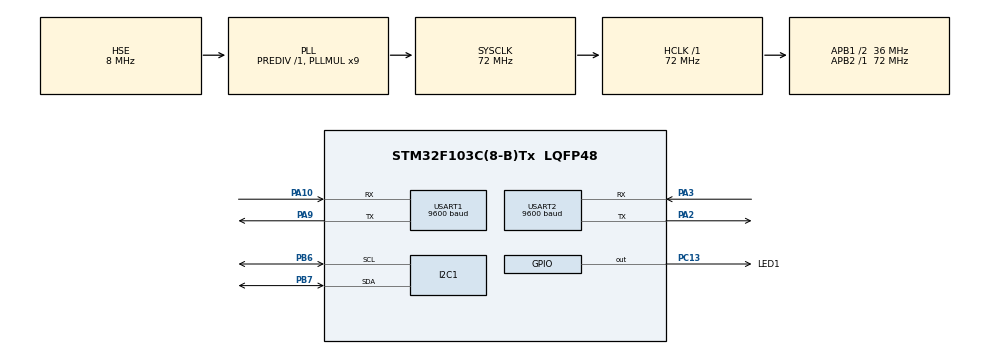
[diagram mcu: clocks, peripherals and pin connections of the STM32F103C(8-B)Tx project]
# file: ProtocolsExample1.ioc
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I2C1.OwnAddress=0x21
Mcu.Family=STM32F1
Mcu.Name=STM32F103C(8-B)Tx
Mcu.Package=LQFP48
NVIC.I2C1_ER_IRQn=true\:0\:0\:false\:false\:true\:true\:true\:true
NVIC.I2C1_EV_IRQn=true\:0\:0\:true\:false\:true\:true\:true\:true
NVIC.PriorityGroup=NVIC_PRIORITYGROUP_4
NVIC.TIM2_IRQn=true\:7\:0\:true\:false\:true\:true\:true\:true
NVIC.USART1_IRQn=true\:7\:0\:true\:false\:true\:true\:true\:true
NVIC.USART2_IRQn=true\:0\:0\:true\:false\:true\:true\:true\:true
PA10.Mode=Asynchronous
PA10.Signal=USART1_RX
PA13.Mode=Serial_Wire
PA13.Signal=SYS_JTMS-SWDIO
PA14.Mode=Serial_Wire
PA14.Signal=SYS_JTCK-SWCLK
PA2.Mode=Asynchronous
PA2.Signal=USART2_TX
PA3.Mode=Asynchronous
PA3.Signal=USART2_RX
PA9.Mode=Asynchronous
PA9.Signal=USART1_TX
PB6.Mode=I2C
PB6.Signal=I2C1_SCL
PB7.Mode=I2C
PB7.Signal=I2C1_SDA
PC13-TAMPER-RTC.GPIO_Label=LED1
PC13-TAMPER-RTC.GPIO_ModeDefaultOutputPP=GPIO_MODE_OUTPUT_PP
PC13-TAMPER-RTC.Signal=GPIO_Output
PD0-OSC_IN.Mode=HSE-External-Oscillator
PD0-OSC_IN.Signal=RCC_OSC_IN
PD1-OSC_OUT.Mode=HSE-External-Oscillator
PD1-OSC_OUT.Signal=RCC_OSC_OUT
ProjectManager.HeapSize=0x200
ProjectManager.StackSize=0x400
ProjectManager.TargetToolchain=STM32CubeIDE
RCC.AHBFreq_Value=72000000
RCC.APB1CLKDivider=RCC_HCLK_DIV2
RCC.APB1Freq_Value=36000000
RCC.APB1TimFreq_Value=72000000
RCC.APB2Freq_Value=72000000
RCC.APB2TimFreq_Value=72000000
RCC.HCLKFreq_Value=72000000
RCC.PLLMUL=RCC_PLL_MUL9
RCC.PLLSourceVirtual=RCC_PLLSOURCE_HSE
RCC.SYSCLKFreq_VALUE=72000000
RCC.SYSCLKSource=RCC_SYSCLKSOURCE_PLLCLK
RCC.USBFreq_Value=72000000
TIM2.AutoReloadPreload=TIM_AUTORELOAD_PRELOAD_ENABLE
TIM2.Period=36000
TIM2.Prescaler=10000
USART1.BaudRate=9600
USART1.Mode=MODE_TX
USART1.VirtualMode=VM_ASYNC
USART1.WordLength=WORDLENGTH_8B
USART2.BaudRate=9600
USART2.VirtualMode=VM_ASYNC
VP_TIM2_VS_ClockSourceINT.Mode=Internal
board=custom

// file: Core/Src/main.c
/* USER CODE BEGIN Header */
/**
  ******************************************************************************
  * @file           : main.c
  * @brief          : Main program body
  ******************************************************************************
  * @attention
  *
  * Copyright (c) 2022 STMicroelectronics.
  * All rights reserved.
  *
  * This software is licensed under terms that can be found in the LICENSE file
  * in the root directory of this software component.
  * If no LICENSE file comes with this software, it is provided AS-IS.
  *
  ******************************************************************************
  */
/* USER CODE END Header */
#include "main.h"

/* USER CODE BEGIN Includes */
#define _GNU_SOURCE
#include <string.h>
#include <stdlib.h>
#include <stdio.h>
/* USER CODE END Includes */

 I2C_HandleTypeDef hi2c1;

TIM_HandleTypeDef htim2;

UART_HandleTypeDef huart1;
UART_HandleTypeDef huart2;

void SystemClock_Config(void);
static void MX_GPIO_Init(void);
static void MX_I2C1_Init(void);
static void MX_USART1_UART_Init(void);
static void MX_USART2_UART_Init(void);
static void MX_TIM2_Init(void);

/* USER CODE BEGIN 0 */

uint8_t uart2_rx_buffer[16];
uint8_t i2c1_rx_buffer[3];

uint32_t command = 0;
uint32_t storage_id = 0;
uint32_t offset = 0;
uint32_t size = 0;

uint8_t * i2c_current;

void uart1_log(char * message, size_t len){
	// opportunistic log - if the HAL is busy, we throw away the message.
	HAL_StatusTypeDef status;
	status = HAL_UART_Transmit_IT(&huart1, (uint8_t *) message, len);
	if (status != HAL_OK)
		free(message);
}

void parse_uart2_rx_buffer(){
	/* The receive buffer is 16 byte. Internally we treat those 16 byte as 4 * 32bit:
	 *
	 * [uint32_t command] [uint32_t storage_id] [uint32_t offset] [uint32_t size]
	 *
	 * The receive buffer is an array of uint8_t and we just cast it, so we can interpret it as
	 * a uint32_t[4].
	 */
	uint32_t * casted_buffer = (uint32_t *) uart2_rx_buffer;
	command = (uint32_t) casted_buffer[0];
	storage_id = (uint32_t) casted_buffer[1];
	offset = (uint32_t) casted_buffer[2];
	size = (uint32_t) casted_buffer[3];
}
/* This is called when TIM2 (every 5 seconds) overflows.
 * We use this to print "Hello World! on UART1
 */
void HAL_TIM_PeriodElapsedCallback(TIM_HandleTypeDef *htim) {
	char* buffer;
	int len;
	len = asprintf(&buffer, "Hello world!\r\n");
	uart1_log(buffer, len);
}

void uart2_reset(){
	 command = 0;
	 storage_id = 0;
	 offset = 0;
	 size = 0;
}

/* Here we execute the UART "READ FLASH" command (0x2c) */
void uart2_read(){
	HAL_StatusTypeDef status;
	status = HAL_UART_Transmit(&huart2, (uint8_t *)FLASH_BASE + offset, size, 500);

	char* buffer;
	int len;
	if(status == HAL_OK){
		len = asprintf(&buffer, "UART2: Transmitted!\r\n");
	}else {
		len = asprintf(&buffer, "UART2: Transmission Error!\r\n");
	}
	uart1_log(buffer, len);
}

void uart2_command_parse(){
	char * buffer;
 	int len;

	switch(command){
		// 2c is the READ FLASH command.
		case 0x2c:
			uart2_read();
			break;
		default:
		 	len = asprintf(&buffer, "UART2: Invalid command received: 0x%lX\r\n", command);
			uart1_log(buffer, len);
	}
	uart2_reset();
}

void HAL_UART_TxCpltCallback(UART_HandleTypeDef *huart){
	 if(huart == &huart1){
		 // Transmits via huart1 are our log. These are done via Interrupt.
		 // Messages are allocated on the Heap. We need to free it here after successful transmission.
		 // The transmit buffer is moved byte by byte during transmission.
		 // We calculate the original pointer to free it.
		 uint8_t * buff = (huart->pTxBuffPtr) - huart->TxXferSize;
		 free(buff);
	 }
}

void HAL_UART_RxCpltCallback(UART_HandleTypeDef *huart){

 if(huart == &huart2){
	 // We received data on UART! get the command, offset and size from the RX buffer.
	 parse_uart2_rx_buffer();

	 char * buffer;
 	 int len = asprintf(&buffer, "UART2: READ FLASH command received! Command: 0x%lX, Offset:%lX, Size: %lX\r\n", command, offset, size);
	 uart1_log(buffer, len);

	 // Now execute whatever was requested.
	 uart2_command_parse();

 }
 // Enable UART RX...
 HAL_UART_Receive_IT(&huart2, uart2_rx_buffer, 16);
}

void HAL_I2C_SlaveRxCpltCallback(I2C_HandleTypeDef *hi2c1){
	// we received 3 bytes of data!

	/* We have only 128 kByte of flash, from 3 bytes received, we only need 17 bits.
	 * make sure the upper 7 bits are not set.
	 */

	if(!(i2c1_rx_buffer[0] && 0xFE)){
			// we have a valid address
			uint32_t received_address = 0x00000000 | (i2c1_rx_buffer[0] << 16);
			received_address = received_address | (i2c1_rx_buffer[1] << 8);
			received_address = received_address | (i2c1_rx_buffer[2]);

			i2c_current = (uint8_t *) (FLASH_BASE + received_address);
	}

	char * buffer;
	int len = asprintf(&buffer, "I2C1: READ FLASH offset set: %p\r\n", i2c_current);
	uart1_log(buffer, len);

}

void HAL_I2C_AddrCallback(I2C_HandleTypeDef *hi2c1, uint8_t TransferDirection, uint16_t AddrMatchCode){

	/* Called when our I2C address was requested on the bus.
	 * Depending on the transfer direction we will either start a Transmit or Receive.
	 */

	// TransferDirection is seen from the Master, but we are on a Slave

	// We send data to the master
	if(TransferDirection == I2C_DIRECTION_RECEIVE){
		// We do not know how many bytes the master wants. This means we transmit everythin.
		// The controller will stop receiving bytes by sending a NACK. This will result in a Error and
		// subsequently into a callback to HAL_I2C_ErrorCallback.
		HAL_I2C_Slave_Seq_Transmit_IT(hi2c1, i2c_current, (uint16_t)0xFFFFF, I2C_FIRST_FRAME);
	  }

	// We receive the address from the master.
	// This is normally a command to set the flash pointer offset. When the transfer is done,
	// HAL_I2C_SlaveRxCpltCallback is called. There we will parse the received data.
	if(TransferDirection == I2C_DIRECTION_TRANSMIT){
		HAL_I2C_Slave_Seq_Receive_IT(hi2c1, i2c1_rx_buffer, 3, I2C_FIRST_AND_LAST_FRAME);
	}
}

void HAL_I2C_ErrorCallback(I2C_HandleTypeDef *hi2c){
	// This is a hack. The current_address pointer is always shifted one byte too far.
	// If the error was HAL_I2C_ERROR_AF (ACK Failed), we substract one to correct that.
	if(hi2c->ErrorCode == HAL_I2C_ERROR_AF){
		uint32_t bytes_transferred = ((hi2c->XferSize - hi2c->XferCount) - 1);
		i2c_current = i2c_current + bytes_transferred;
		char * buffer;
		int len;
		len = asprintf(&buffer, "I2C1: READ FLASH ended! %lu bytes transferred\r\n", bytes_transferred);
		uart1_log(buffer, len);
	}
}

/* USER CODE END 0 */

int main(void)
{

  /* MCU Configuration--------------------------------------------------------*/

  /* Reset of all peripherals, Initializes the Flash interface and the Systick. */
  HAL_Init();

  /* USER CODE BEGIN Init */
  i2c_current = (uint8_t *) FLASH_BASE;

  /* USER CODE END Init */

  /* Configure the system clock */
  SystemClock_Config();

  /* Initialize all configured peripherals */
  MX_GPIO_Init();
  MX_I2C1_Init();
  MX_USART1_UART_Init();
  MX_USART2_UART_Init();
  MX_TIM2_Init();
  /* USER CODE BEGIN 2 */
  HAL_TIM_Base_Start_IT(&htim2);

  /* USER CODE END 2 */

  /* Infinite loop */
  /* USER CODE BEGIN WHILE */
  while (1)
  {

	  HAL_UART_StateTypeDef uart2_status = HAL_UART_GetState(&huart2);
	  if (uart2_status == HAL_UART_STATE_READY)
		  HAL_UART_Receive_IT(&huart2, uart2_rx_buffer, 16);
	  HAL_I2C_StateTypeDef i2c1_status = HAL_I2C_GetState(&hi2c1);
	  if (i2c1_status == HAL_I2C_STATE_READY)
		  HAL_I2C_EnableListen_IT(&hi2c1);

    /* USER CODE END WHILE */

  }
}

void SystemClock_Config(void)
{
  RCC_OscInitTypeDef RCC_OscInitStruct = {0};
  RCC_ClkInitTypeDef RCC_ClkInitStruct = {0};

  /** Initializes the RCC Oscillators according to the specified parameters
  * in the RCC_OscInitTypeDef structure.
  */
  RCC_OscInitStruct.OscillatorType = RCC_OSCILLATORTYPE_HSE;
  RCC_OscInitStruct.HSEState = RCC_HSE_ON;
  RCC_OscInitStruct.HSEPredivValue = RCC_HSE_PREDIV_DIV1;
  RCC_OscInitStruct.HSIState = RCC_HSI_ON;
  RCC_OscInitStruct.PLL.PLLState = RCC_PLL_ON;
  RCC_OscInitStruct.PLL.PLLSource = RCC_PLLSOURCE_HSE;
  RCC_OscInitStruct.PLL.PLLMUL = RCC_PLL_MUL9;
  if (HAL_RCC_OscConfig(&RCC_OscInitStruct) != HAL_OK)
  {
    Error_Handler();
  }

  /** Initializes the CPU, AHB and APB buses clocks
  */
  RCC_ClkInitStruct.ClockType = RCC_CLOCKTYPE_HCLK|RCC_CLOCKTYPE_SYSCLK
                              |RCC_CLOCKTYPE_PCLK1|RCC_CLOCKTYPE_PCLK2;
  RCC_ClkInitStruct.SYSCLKSource = RCC_SYSCLKSOURCE_PLLCLK;
  RCC_ClkInitStruct.AHBCLKDivider = RCC_SYSCLK_DIV1;
  RCC_ClkInitStruct.APB1CLKDivider = RCC_HCLK_DIV2;
  RCC_ClkInitStruct.APB2CLKDivider = RCC_HCLK_DIV1;

  if (HAL_RCC_ClockConfig(&RCC_ClkInitStruct, FLASH_LATENCY_2) != HAL_OK)
  {
    Error_Handler();
  }
}

static void MX_I2C1_Init(void)
{

  hi2c1.Instance = I2C1;
  hi2c1.Init.ClockSpeed = 100000;
  hi2c1.Init.DutyCycle = I2C_DUTYCYCLE_2;
  hi2c1.Init.OwnAddress1 = 66;
  hi2c1.Init.AddressingMode = I2C_ADDRESSINGMODE_7BIT;
  hi2c1.Init.DualAddressMode = I2C_DUALADDRESS_DISABLE;
  hi2c1.Init.OwnAddress2 = 0;
  hi2c1.Init.GeneralCallMode = I2C_GENERALCALL_DISABLE;
  hi2c1.Init.NoStretchMode = I2C_NOSTRETCH_DISABLE;
  if (HAL_I2C_Init(&hi2c1) != HAL_OK)
  {
    Error_Handler();
  }

}

static void MX_TIM2_Init(void)
{

  TIM_ClockConfigTypeDef sClockSourceConfig = {0};
  TIM_MasterConfigTypeDef sMasterConfig = {0};

  htim2.Instance = TIM2;
  htim2.Init.Prescaler = 10000;
  htim2.Init.CounterMode = TIM_COUNTERMODE_UP;
  htim2.Init.Period = 36000;
  htim2.Init.ClockDivision = TIM_CLOCKDIVISION_DIV1;
  htim2.Init.AutoReloadPreload = TIM_AUTORELOAD_PRELOAD_ENABLE;
  if (HAL_TIM_Base_Init(&htim2) != HAL_OK)
  {
    Error_Handler();
  }
  sClockSourceConfig.ClockSource = TIM_CLOCKSOURCE_INTERNAL;
  if (HAL_TIM_ConfigClockSource(&htim2, &sClockSourceConfig) != HAL_OK)
  {
    Error_Handler();
  }
  sMasterConfig.MasterOutputTrigger = TIM_TRGO_RESET;
  sMasterConfig.MasterSlaveMode = TIM_MASTERSLAVEMODE_DISABLE;
  if (HAL_TIMEx_MasterConfigSynchronization(&htim2, &sMasterConfig) != HAL_OK)
  {
    Error_Handler();
  }

}

static void MX_USART1_UART_Init(void)
{

  huart1.Instance = USART1;
  huart1.Init.BaudRate = 9600;
  huart1.Init.WordLength = UART_WORDLENGTH_8B;
  huart1.Init.StopBits = UART_STOPBITS_1;
  huart1.Init.Parity = UART_PARITY_NONE;
  huart1.Init.Mode = UART_MODE_TX;
  huart1.Init.HwFlowCtl = UART_HWCONTROL_NONE;
  huart1.Init.OverSampling = UART_OVERSAMPLING_16;
  if (HAL_UART_Init(&huart1) != HAL_OK)
  {
    Error_Handler();
  }

}

static void MX_USART2_UART_Init(void)
{

  huart2.Instance = USART2;
  huart2.Init.BaudRate = 9600;
  huart2.Init.WordLength = UART_WORDLENGTH_8B;
  huart2.Init.StopBits = UART_STOPBITS_1;
  huart2.Init.Parity = UART_PARITY_NONE;
  huart2.Init.Mode = UART_MODE_TX_RX;
  huart2.Init.HwFlowCtl = UART_HWCONTROL_NONE;
  huart2.Init.OverSampling = UART_OVERSAMPLING_16;
  if (HAL_UART_Init(&huart2) != HAL_OK)
  {
    Error_Handler();
  }

}

static void MX_GPIO_Init(void)
{
  GPIO_InitTypeDef GPIO_InitStruct = {0};

  /* GPIO Ports Clock Enable */
  __HAL_RCC_GPIOC_CLK_ENABLE();
  __HAL_RCC_GPIOD_CLK_ENABLE();
  __HAL_RCC_GPIOA_CLK_ENABLE();
  __HAL_RCC_GPIOB_CLK_ENABLE();

  /*Configure GPIO pin Output Level */
  HAL_GPIO_WritePin(LED1_GPIO_Port, LED1_Pin, GPIO_PIN_RESET);

  /*Configure GPIO pin : LED1_Pin */
  GPIO_InitStruct.Pin = LED1_Pin;
  GPIO_InitStruct.Mode = GPIO_MODE_OUTPUT_PP;
  GPIO_InitStruct.Pull = GPIO_NOPULL;
  GPIO_InitStruct.Speed = GPIO_SPEED_FREQ_LOW;
  HAL_GPIO_Init(LED1_GPIO_Port, &GPIO_InitStruct);

}

void Error_Handler(void)
{
  __disable_irq();
  while (1)
  {
  }
}
